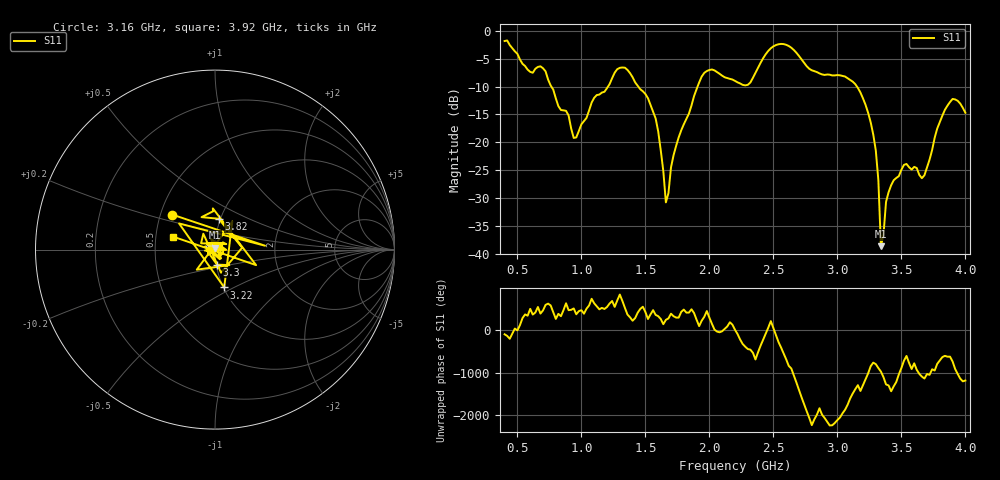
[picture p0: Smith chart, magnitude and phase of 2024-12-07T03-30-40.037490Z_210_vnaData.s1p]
!Created with skrf (http://scikit-rf.org).
# Hz S RI R 50.0
!freq ReS11 ImS11
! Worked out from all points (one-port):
!   181 points, 400 MHz to 4 GHz, reference 50 ohm
!   lowest |S11| = -38.7 dB at 3.34 GHz (marker M1), VSWR 1.02, Z = 49.8 + j1.14 ohm
!   |S11| at or under -10 dB: 765.1 MHz to 1.208 GHz (442.6 MHz wide, 44.9 % of centre); 1.444 GHz to 1.907 GHz (463.2 MHz wide, 27.6 % of centre); 3.153 GHz to end of sweep
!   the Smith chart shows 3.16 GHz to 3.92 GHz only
!   S11 on the Smith chart (normalised r, x): 3.16 GHz: 0.58, +0.25; 3.22 GHz: 1.01, -0.45; 3.3 GHz: 1.01, -0.17; 3.82 GHz: 0.98, +0.35; 3.92 GHz: 0.62, +0.09
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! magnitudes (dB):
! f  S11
! 400 MHz  -1.8
! 600 MHz  -7.4
! 700 MHz  -6.7
! 860 MHz  -14.3
! 960 MHz  -19.1
! 1.1 GHz  -12.0
! 1.3 GHz  -6.6
! 1.58 GHz  -15.7
! 1.66 GHz  -30.8
! 1.76 GHz  -19.1
! 1.96 GHz  -7.5
! 2.2 GHz  -9.0
! 2.3 GHz  -9.7
! 2.5 GHz  -2.8
! 2.66 GHz  -3.4
! 2.8 GHz  -7.1
! 3.1 GHz  -8.8
! 3.16 GHz  -10.2
! 3.22 GHz  -13.3
! 3.3 GHz  -21.5
! 3.32 GHz  -26.8
! 3.34 GHz  -38.7
! 3.4 GHz  -29.0
! 3.56 GHz  -24.5
! 3.68 GHz  -25.9
! 3.82 GHz  -15.2
! 3.92 GHz  -12.3
! 4 GHz  -14.7
